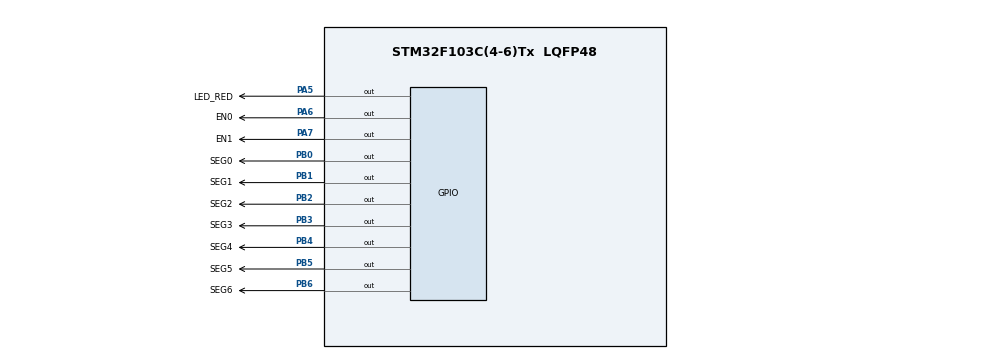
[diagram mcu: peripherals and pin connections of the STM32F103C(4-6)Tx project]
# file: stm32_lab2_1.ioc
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Mcu.Family=STM32F1
Mcu.Name=STM32F103C(4-6)Tx
Mcu.Package=LQFP48
NVIC.PriorityGroup=NVIC_PRIORITYGROUP_4
NVIC.TIM2_IRQn=true\:0\:0\:false\:false\:true\:true\:true\:true
PA5.GPIO_Label=LED_RED
PA5.Signal=GPIO_Output
PA6.GPIO_Label=EN0
PA6.Signal=GPIO_Output
PA7.GPIO_Label=EN1
PA7.Signal=GPIO_Output
PB0.GPIO_Label=SEG0
PB0.Signal=GPIO_Output
PB1.GPIO_Label=SEG1
PB1.Signal=GPIO_Output
PB2.GPIO_Label=SEG2
PB2.Signal=GPIO_Output
PB3.GPIO_Label=SEG3
PB3.Signal=GPIO_Output
PB4.GPIO_Label=SEG4
PB4.Signal=GPIO_Output
PB5.GPIO_Label=SEG5
PB5.Signal=GPIO_Output
PB6.GPIO_Label=SEG6
PB6.Signal=GPIO_Output
ProjectManager.HeapSize=0x200
ProjectManager.StackSize=0x400
ProjectManager.TargetToolchain=STM32CubeIDE
RCC.APB1Freq_Value=8000000
RCC.APB2Freq_Value=8000000
TIM2.Period=9
TIM2.Prescaler=7999
VP_SYS_VS_ND.Mode=No_Debug
VP_TIM2_VS_ClockSourceINT.Mode=Internal
board=custom

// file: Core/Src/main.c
/* USER CODE BEGIN Header */
/**
  ******************************************************************************
  * @file           : main.c
  * @brief          : Main program body
  ******************************************************************************
  * @attention
  *
  * Copyright (c) 2024 STMicroelectronics.
  * All rights reserved.
  *
  * This software is licensed under terms that can be found in the LICENSE file
  * in the root directory of this software component.
  * If no LICENSE file comes with this software, it is provided AS-IS.
  *
  ******************************************************************************
  */
/* USER CODE END Header */
#include "main.h"

TIM_HandleTypeDef htim2;

void SystemClock_Config(void);
static void MX_GPIO_Init(void);
static void MX_TIM2_Init(void);

/* USER CODE BEGIN 0 */
void display7SEG(int num, GPIO_TypeDef* GPIOx, uint16_t start_index) {
      __IO uint16_t temp;
      switch (num) {
          case 0: temp = 0b1000000; break;
          case 1: temp = 0b1111001; break;
          case 2: temp = 0b0100100; break;
          case 3: temp = 0b0110000; break;
          case 4: temp = 0b0011001; break;
          case 5: temp = 0b0010010; break;
          case 6: temp = 0b0000010; break;
          case 7: temp = 0b1111000; break;
          case 8: temp = 0b0; break;
          case 9: temp = 0b0010000; break;
          default: temp = !0b0; break;
      }
      uint16_t bitmask = 0b1111111 << start_index;
      GPIOx->ODR = (GPIOx->ODR & ~bitmask) | (temp << start_index);
  }

/* USER CODE END 0 */

int main(void)
{

  /* MCU Configuration--------------------------------------------------------*/

  /* Reset of all peripherals, Initializes the Flash interface and the Systick. */
  HAL_Init();

  /* Configure the system clock */
  SystemClock_Config();

  /* Initialize all configured peripherals */
  MX_GPIO_Init();
  MX_TIM2_Init();
  /* USER CODE BEGIN 2 */
  HAL_TIM_Base_Start_IT(&htim2);

  /* USER CODE END 2 */

  /* Infinite loop */
  while (1)
  {

  }
}

void SystemClock_Config(void)
{
  RCC_OscInitTypeDef RCC_OscInitStruct = {0};
  RCC_ClkInitTypeDef RCC_ClkInitStruct = {0};

  /** Initializes the RCC Oscillators according to the specified parameters
  * in the RCC_OscInitTypeDef structure.
  */
  RCC_OscInitStruct.OscillatorType = RCC_OSCILLATORTYPE_HSI;
  RCC_OscInitStruct.HSIState = RCC_HSI_ON;
  RCC_OscInitStruct.HSICalibrationValue = RCC_HSICALIBRATION_DEFAULT;
  RCC_OscInitStruct.PLL.PLLState = RCC_PLL_NONE;
  if (HAL_RCC_OscConfig(&RCC_OscInitStruct) != HAL_OK)
  {
    Error_Handler();
  }

  /** Initializes the CPU, AHB and APB buses clocks
  */
  RCC_ClkInitStruct.ClockType = RCC_CLOCKTYPE_HCLK|RCC_CLOCKTYPE_SYSCLK
                              |RCC_CLOCKTYPE_PCLK1|RCC_CLOCKTYPE_PCLK2;
  RCC_ClkInitStruct.SYSCLKSource = RCC_SYSCLKSOURCE_HSI;
  RCC_ClkInitStruct.AHBCLKDivider = RCC_SYSCLK_DIV1;
  RCC_ClkInitStruct.APB1CLKDivider = RCC_HCLK_DIV1;
  RCC_ClkInitStruct.APB2CLKDivider = RCC_HCLK_DIV1;

  if (HAL_RCC_ClockConfig(&RCC_ClkInitStruct, FLASH_LATENCY_0) != HAL_OK)
  {
    Error_Handler();
  }
}

static void MX_TIM2_Init(void)
{

  TIM_ClockConfigTypeDef sClockSourceConfig = {0};
  TIM_MasterConfigTypeDef sMasterConfig = {0};

  htim2.Instance = TIM2;
  htim2.Init.Prescaler = 7999;
  htim2.Init.CounterMode = TIM_COUNTERMODE_UP;
  htim2.Init.Period = 9;
  htim2.Init.ClockDivision = TIM_CLOCKDIVISION_DIV1;
  htim2.Init.AutoReloadPreload = TIM_AUTORELOAD_PRELOAD_DISABLE;
  if (HAL_TIM_Base_Init(&htim2) != HAL_OK)
  {
    Error_Handler();
  }
  sClockSourceConfig.ClockSource = TIM_CLOCKSOURCE_INTERNAL;
  if (HAL_TIM_ConfigClockSource(&htim2, &sClockSourceConfig) != HAL_OK)
  {
    Error_Handler();
  }
  sMasterConfig.MasterOutputTrigger = TIM_TRGO_RESET;
  sMasterConfig.MasterSlaveMode = TIM_MASTERSLAVEMODE_DISABLE;
  if (HAL_TIMEx_MasterConfigSynchronization(&htim2, &sMasterConfig) != HAL_OK)
  {
    Error_Handler();
  }

}

static void MX_GPIO_Init(void)
{
  GPIO_InitTypeDef GPIO_InitStruct = {0};

  /* GPIO Ports Clock Enable */
  __HAL_RCC_GPIOA_CLK_ENABLE();
  __HAL_RCC_GPIOB_CLK_ENABLE();

  /*Configure GPIO pin Output Level */
  HAL_GPIO_WritePin(GPIOA, LED_RED_Pin|EN0_Pin|EN1_Pin, GPIO_PIN_RESET);

  /*Configure GPIO pin Output Level */
  HAL_GPIO_WritePin(GPIOB, SEG0_Pin|SEG1_Pin|SEG2_Pin|SEG3_Pin
                          |SEG4_Pin|SEG5_Pin|SEG6_Pin, GPIO_PIN_RESET);

  /*Configure GPIO pins : LED_RED_Pin EN0_Pin EN1_Pin */
  GPIO_InitStruct.Pin = LED_RED_Pin|EN0_Pin|EN1_Pin;
  GPIO_InitStruct.Mode = GPIO_MODE_OUTPUT_PP;
  GPIO_InitStruct.Pull = GPIO_NOPULL;
  GPIO_InitStruct.Speed = GPIO_SPEED_FREQ_LOW;
  HAL_GPIO_Init(GPIOA, &GPIO_InitStruct);

  /*Configure GPIO pins : SEG0_Pin SEG1_Pin SEG2_Pin SEG3_Pin
                           SEG4_Pin SEG5_Pin SEG6_Pin */
  GPIO_InitStruct.Pin = SEG0_Pin|SEG1_Pin|SEG2_Pin|SEG3_Pin
                          |SEG4_Pin|SEG5_Pin|SEG6_Pin;
  GPIO_InitStruct.Mode = GPIO_MODE_OUTPUT_PP;
  GPIO_InitStruct.Pull = GPIO_NOPULL;
  GPIO_InitStruct.Speed = GPIO_SPEED_FREQ_LOW;
  HAL_GPIO_Init(GPIOB, &GPIO_InitStruct);

}

/* USER CODE BEGIN 4 */

int counter2 = 50;
int counter1 = 100;
int num = 1;
void HAL_TIM_PeriodElapsedCallback (TIM_HandleTypeDef *htim){

	counter1--;
	if(counter1 <= 0){
		counter1 = 100;
		HAL_GPIO_TogglePin(GPIOA, GPIO_PIN_5);
// 7SEG
	counter2--;
	if(counter2 <= 0){
		counter2 = 50;
		if(num==1){
			HAL_GPIO_TogglePin(GPIOA, GPIO_PIN_6);
		}
		else if(num==2){
			HAL_GPIO_TogglePin(GPIOA, GPIO_PIN_7);
		}
			num = 3 - num;
	}
	display7SEG(num, GPIOB, 0);
}
/* USER CODE END 4 */

void Error_Handler(void)
{
  __disable_irq();
  while (1)
  {
  }
}
